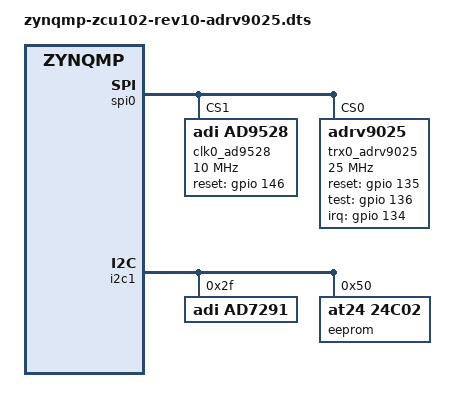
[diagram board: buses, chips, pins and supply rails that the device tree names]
// SPDX-License-Identifier: GPL-2.0
/*
 * Analog Devices ADRV9025
 * https://wiki.analog.com/resources/eval/user-guides/adrv9025
 * https://wiki.analog.com/resources/tools-software/linux-drivers/iio-transceiver/adrv9025
 *
 * hdl_project: <adrv9026/zcu102>
 * board_revision: <>
 *
 * Copyright (C) 2020-2023 Analog Devices Inc.
 */
#include "zynqmp-zcu102-rev1.0.dts"
#include <dt-bindings/interrupt-controller/irq.h>
#include <dt-bindings/iio/adc/adi,adrv9025.h>

#include <dt-bindings/iio/frequency/ad9528.h>
#include <dt-bindings/gpio/gpio.h>
#include <dt-bindings/jesd204/adxcvr.h>

&spi0 {
	status = "okay";

	clk0_ad9528: ad9528-1@1 {
		compatible = "adi,ad9528";
		reg = <1>;

		#address-cells = <1>;
		#size-cells = <0>;

		spi-max-frequency = <10000000>;
		//adi,spi-3wire-enable;

		clock-output-names = "ad9528-1_out0", "ad9528-1_out1", "ad9528-1_out2",
			"ad9528-1_out3", "ad9528-1_out4", "ad9528-1_out5", "ad9528-1_out6",
			"ad9528-1_out7", "ad9528-1_out8", "ad9528-1_out9", "ad9528-1_out10",
			"ad9528-1_out11", "ad9528-1_out12", "ad9528-1_out13";
		#clock-cells = <1>;

		jesd204-device;
		#jesd204-cells = <2>;
		jesd204-sysref-provider;

		adi,vcxo-freq = <122880000>;

		adi,refa-enable;
		adi,refa-diff-rcv-enable;
		adi,refa-r-div = <1>;

		/* PLL1 config */
		adi,pll1-feedback-div = <4>;
		adi,pll1-charge-pump-current-nA = <5000>;

		/* PLL2 config */
		adi,pll2-vco-div-m1 = <3>; /* use 5 for 184320000 output device clock */
		adi,pll2-n2-div = <10>; /* N / M1 */
		adi,pll2-r1-div = <1>;
		adi,pll2-charge-pump-current-nA = <805000>;

		/* SYSREF config */
		adi,sysref-src = <SYSREF_SRC_INTERNAL>;
		adi,sysref-pattern-mode = <SYSREF_PATTERN_NSHOT>;
		adi,sysref-k-div = <512>;
		adi,sysref-nshot-mode = <SYSREF_NSHOT_8_PULSES>;
		//adi,sysref-request-trigger-mode = <SYSREF_LEVEL_HIGH>;
		adi,jesd204-desired-sysref-frequency-hz = <3840000>;

		adi,rpole2 = <RPOLE2_900_OHM>;
		adi,rzero = <RZERO_1850_OHM>;
		adi,cpole1 = <CPOLE1_16_PF>;

		adi,status-mon-pin0-function-select = <1>; /* PLL1 & PLL2 Locked */
		adi,status-mon-pin1-function-select = <7>; /* REFA Correct */

		ad9528_0_c0: channel@0 {
			reg = <0>;
			adi,extended-name = "DEV_SYSREF";
			adi,driver-mode = <DRIVER_MODE_LVDS>;
			adi,divider-phase = <0>;
			adi,channel-divider = <5>;
			adi,signal-source = <SOURCE_SYSREF_VCO>;
			//adi,output-dis;
		};

		ad9528_0_c1: channel@1 {
			reg = <1>;
			adi,extended-name = "DEV_CLK";
			adi,driver-mode = <DRIVER_MODE_LVDS>;
			adi,divider-phase = <0>;
			adi,channel-divider = <5>;
			adi,signal-source = <SOURCE_VCO>;
			adi,output-dis;
		};

		ad9528_0_c3: channel@3 {
			reg = <3>;
			adi,extended-name = "CORE_CLK";
			adi,driver-mode = <DRIVER_MODE_LVDS>;
			adi,divider-phase = <0>;
			adi,channel-divider = <5>;
			adi,signal-source = <SOURCE_VCO>;
			adi,output-dis;
		};

		ad9528_0_c12: channel@12 {
			reg = <12>;
			adi,extended-name = "FMC_SYSREF";
			adi,driver-mode = <DRIVER_MODE_LVDS>;
			adi,divider-phase = <0>;
			adi,channel-divider = <5>;
			adi,signal-source = <SOURCE_SYSREF_VCO>;
			//adi,output-dis;
		};

		ad9528_0_c13: channel@13 {
			reg = <13>;
			adi,extended-name = "FMC_CLK";
			adi,driver-mode = <DRIVER_MODE_LVDS>;
			adi,divider-phase = <0>;
			adi,channel-divider = <5>;
			adi,signal-source = <SOURCE_VCO>;
			adi,output-dis;
		};
	};

	trx0_adrv9025: adrv9025-phy@0 {
		compatible = "adrv9025";
		reg = <0>;

		#address-cells = <1>;
		#size-cells = <0>;

		/* SPI Setup */
		spi-max-frequency = <25000000>;

		interrupt-parent = <&gpio>;
		interrupts = <134 IRQ_TYPE_EDGE_RISING>; /* adrv9025_gpint1 */

		/* Clocks */
		clocks = <&clk0_ad9528 1>;

		clock-names = "dev_clk";

		clock-output-names = "rx_sampl_clk", "tx_sampl_clk";
		#clock-cells = <1>;

		jesd204-device;
		#jesd204-cells = <2>;
		jesd204-top-device = <0>; /* This is the TOP device */
		jesd204-link-ids = <DEFRAMER0_LINK_TX FRAMER0_LINK_RX>;

		jesd204-inputs =
			<&axi_adrv9025_rx_jesd 0 FRAMER0_LINK_RX>,
			<&axi_adrv9025_core_tx 0 DEFRAMER0_LINK_TX>;

		adi,device-profile-name = "ActiveUseCase.profile";
		adi,init-profile-name = "ActiveUtilInit.profile";
		adi,arm-firmware-name = "ADRV9025_FW.bin;ADRV9025_DPDCORE_FW.bin";
		adi,stream-firmware-name = "stream_image_6E3E00EFB74FE7D465FA88A171B81B8F.bin";
		adi,rx-gaintable-names = "ADRV9025_RxGainTable.csv";
		adi,rx-gaintable-channel-masks = <0xFF>;
		adi,tx-attntable-names = "ADRV9025_TxAttenTable.csv";
		adi,tx-attntable-channel-masks = <0x0F>;

		/* General AGC Configuration */
		adi,rxagc-rx-channel-mask = <0x0F>;
		adi,rxagc-agc-peak-wait-time = <4>;
		adi,rxagc-agc-rx-max-gain-index = <255>;
		adi,rxagc-agc-rx-min-gain-index = <195>;
		adi,rxagc-agc-gain-update-counter = <921600>;
		adi,rxagc-agc-rx-attack-delay = <10>;
		adi,rxagc-agc-slow-loop-settling-delay = <16>;
		adi,rxagc-agc-low-thresh-prevent-gain-inc = <1>;
		adi,rxagc-agc-change-gain-if-thresh-high = <1>;
		adi,rxagc-agc-peak-thresh-gain-control-mode = <1>;
		adi,rxagc-agc-reset-on-rxon = <0>;
		adi,rxagc-agc-enable-sync-pulse-for-gain-counter = <0>;
		adi,rxagc-agc-enable-fast-recovery-loop = <0>;

		/* adi_adrv9025_AgcPeak_t agcPeak */
		adi,rxagc-peak-agc-under-range-low-interval = <836>;
		adi,rxagc-peak-agc-under-range-mid-interval = <2>;
		adi,rxagc-peak-agc-under-range-high-interval = <4>;
		adi,rxagc-peak-apd-high-thresh = <38>;
		adi,rxagc-peak-apd-low-thresh = <25>;
		adi,rxagc-peak-apd-upper-thresh-peak-exceeded-cnt = <10>;
		adi,rxagc-peak-apd-lower-thresh-peak-exceeded-cnt = <3>;
		adi,rxagc-peak-enable-hb2-overload = <1>;
		adi,rxagc-peak-hb2-overload-duration-cnt = <1>;
		adi,rxagc-peak-hb2-overload-thresh-cnt = <1>;
		adi,rxagc-peak-hb2-high-thresh = <11598>;/* -3dbFS*/
		adi,rxagc-peak-hb2-under-range-low-thresh = <8211>;
		adi,rxagc-peak-hb2-under-range-mid-thresh = <5813>;
		adi,rxagc-peak-hb2-under-range-high-thresh = <2913>;
		adi,rxagc-peak-hb2-upper-thresh-peak-exceeded-cnt = <10>;
		adi,rxagc-peak-hb2-under-range-high-thresh-exceeded-cnt = <3>;
		adi,rxagc-peak-hb2-under-range-mid-thresh-exceeded-cnt = <3>;
		adi,rxagc-peak-hb2-under-range-low-thresh-exceeded-cnt = <3>;
		adi,rxagc-peak-hb2-overload-power-mode = <0>;
		adi,rxagc-peak-hb2-thresh-config = <3>;

		adi,rxagc-peak-apd-gain-step-attack = <4>;
		adi,rxagc-peak-apd-gain-step-recovery = <2>;
		adi,rxagc-peak-hb2-gain-step-attack = <4>;
		adi,rxagc-peak-hb2-gain-step-high-recovery = <2>;
		adi,rxagc-peak-hb2-gain-step-mid-recovery = <4>;
		adi,rxagc-peak-hb2-gain-step-low-recovery = <8>;

		/* adi_adrv9025_AgcPower_t agcPower */
		adi,rxagc-power-power-enable-measurement = <0>;
		adi,rxagc-power-power-input-select = <0>;
		adi,rxagc-power-under-range-high-power-thresh = <9>;
		adi,rxagc-power-under-range-low-power-thresh = <2>;
		adi,rxagc-power-under-range-high-power-gain-step-recovery = <0>;
		adi,rxagc-power-under-range-low-power-gain-step-recovery = <0>;
		adi,rxagc-power-power-measurement-duration = <5>;
		adi,rxagc-power-rx-tdd-power-meas-duration = <5>;
		adi,rxagc-power-rx-tdd-power-meas-delay = <1>;
		adi,rxagc-power-over-range-high-power-thresh = <2>;
		adi,rxagc-power-over-range-low-power-thresh = <0>;
		adi,rxagc-power-power-log-shift = <1>; /* Force to 1 */
		adi,rxagc-power-over-range-high-power-gain-step-attack = <0>;
		adi,rxagc-power-over-range-low-power-gain-step-attack = <0>;
	};
};

&i2c1 {
	i2c-mux@75 {
		i2c@1 { /* HPC1 */
			#address-cells = <1>;
			#size-cells = <0>;
			reg = <1>;
			/* HPC0_IIC */
			ad7291@2f {
				compatible = "adi,ad7291";
				reg = <0x2f>;
			};

			eeprom@50 {
				compatible = "at24,24c02";
				reg = <0x50>;
			};
		};
	};
};


/ {
	fpga_axi: fpga-axi@0 {
		interrupt-parent = <&gic>;
		compatible = "simple-bus";
		#address-cells = <0x1>;
		#size-cells = <0x1>;
		ranges = <0 0 0 0xffffffff>;

		rx_dma: dma@9c400000 {
			compatible = "adi,axi-dmac-1.00.a";
			reg = <0x9c400000 0x10000>;
			#dma-cells = <1>;
			#clock-cells = <0>;
			interrupts = <0 110 IRQ_TYPE_LEVEL_HIGH>;
			clocks = <&zynqmp_clk 73>;
		};

		tx_dma: dma@9c420000  {
			compatible = "adi,axi-dmac-1.00.a";
			reg = <0x9c420000 0x10000>;
			#dma-cells = <1>;
			#clock-cells = <0>;
			interrupts = <0 109 IRQ_TYPE_LEVEL_HIGH>;
			clocks = <&zynqmp_clk 73>;
		};

		axi_adrv9025_core_rx: axi-adrv9025-rx-hpc@84a00000 {
			compatible = "adi,axi-adc-10.0.a";
			reg = <0x84a00000 0x8000>;
			dmas = <&rx_dma 0>;
			dma-names = "rx";
			spibus-connected = <&trx0_adrv9025>;
		};

		axi_adrv9025_core_tx: axi-adrv9025-tx-hpc@84a04000 {
			compatible = "adi,axi-adrv9025-tx-1.0";
			reg = <0x84a04000 0x4000>;
			dmas = <&tx_dma 0>;
			dma-names = "tx";
			clocks = <&trx0_adrv9025 1>;
			clock-names = "sampl_clk";
			//adi,axi-pl-fifo-enable;

			jesd204-device;
			#jesd204-cells = <2>;
			jesd204-inputs = <&axi_adrv9025_tx_jesd 0 DEFRAMER0_LINK_TX>;
		};

		axi_adrv9025_rx_jesd: axi-jesd204-rx@84aa0000 {
			compatible = "adi,axi-jesd204-rx-1.0";
			reg = <0x84aa0000 0x1000>;

			interrupts = <0 107 IRQ_TYPE_LEVEL_HIGH>;

			clocks = <&zynqmp_clk 71>, <&clk0_ad9528 3>, <&axi_adrv9025_adxcvr_rx 0>;
			clock-names = "s_axi_aclk", "device_clk", "lane_clk";

			#clock-cells = <0>;
			clock-output-names = "jesd_rx_lane_clk";

			adi,octets-per-frame = <4>;
			adi,frames-per-multiframe = <32>;

			jesd204-device;
			#jesd204-cells = <2>;
			jesd204-inputs = <&axi_adrv9025_adxcvr_rx 0 FRAMER0_LINK_RX>;
		};

		axi_adrv9025_tx_jesd: axi-jesd204-tx@84a90000 {
			compatible = "adi,axi-jesd204-tx-1.0";
			reg = <0x84a90000 0x1000>;

			interrupts = <0 106 IRQ_TYPE_LEVEL_HIGH>;

			clocks = <&zynqmp_clk 71>, <&clk0_ad9528 3>, <&axi_adrv9025_adxcvr_tx 0>;
			clock-names = "s_axi_aclk", "device_clk", "lane_clk";

			#clock-cells = <0>;
			clock-output-names = "jesd_tx_lane_clk";

			jesd204-device;
			#jesd204-cells = <2>;
			jesd204-inputs = <&axi_adrv9025_adxcvr_tx 0 DEFRAMER0_LINK_TX>;

		};

		axi_adrv9025_adxcvr_rx: axi-adxcvr-rx@84a60000 {
			#address-cells = <1>;
			#size-cells = <0>;
			compatible = "adi,axi-adxcvr-1.0";
			reg = <0x84a60000 0x1000>;

			clocks = <&clk0_ad9528 13>;
			clock-names = "conv";

			#clock-cells = <1>;
			clock-output-names = "rx_gt_clk", "rx_out_clk";

			adi,sys-clk-select = <XCVR_CPLL>;
			adi,out-clk-select = <XCVR_REFCLK>;
			adi,use-lpm-enable;
			adi,use-cpll-enable;

			jesd204-device;
			#jesd204-cells = <2>;
			jesd204-inputs =  <&clk0_ad9528 0 FRAMER0_LINK_RX>;

		};

		axi_adrv9025_adxcvr_tx: axi-adxcvr-tx@84a80000 {
			#address-cells = <1>;
			#size-cells = <0>;
			compatible = "adi,axi-adxcvr-1.0";
			reg = <0x84a80000 0x1000>;

			clocks = <&clk0_ad9528 13>;
			clock-names = "conv";

			#clock-cells = <1>;
			clock-output-names = "tx_gt_clk", "tx_out_clk";

			adi,sys-clk-select = <XCVR_QPLL>;
			adi,out-clk-select = <XCVR_REFCLK>;

			jesd204-device;
			#jesd204-cells = <2>;
			jesd204-inputs =  <&clk0_ad9528 0 DEFRAMER0_LINK_TX>;

		};

		axi_sysid_0: axi-sysid-0@85000000 {
			compatible = "adi,axi-sysid-1.00.a";
			reg = <0x85000000 0x10000>;
		};
	};
};



	// ad9528_reset_b,       // 68
	// ad9528_sysref_req,    // 67
	// adrv9025_tx1_enable,  // 66
	// adrv9025_tx2_enable,  // 65
	// adrv9025_tx3_enable,  // 64
	// adrv9025_tx4_enable,  // 63
	// adrv9025_rx1_enable,  // 62
	// adrv9025_rx2_enable,  // 61
	// adrv9025_rx3_enable,  // 60
	// adrv9025_rx4_enable,  // 59
	// adrv9025_test,        // 58
	// adrv9025_reset_b,     // 57
	// adrv9025_gpint1,      // 56
	// adrv9025_gpint2,      // 55
	// adrv9025_orx_ctrl_a,  // 54
	// adrv9025_orx_ctrl_b,  // 53
	// adrv9025_orx_ctrl_c,  // 52
	// adrv9025_orx_ctrl_d,  // 51
	// adrv9025_gpio_00,     // 50
	// adrv9025_gpio_01,     // 49
	// adrv9025_gpio_02,     // 48
	// adrv9025_gpio_03,     // 47
	// adrv9025_gpio_04,     // 46
	// adrv9025_gpio_05,     // 45
	// adrv9025_gpio_06,     // 44
	// adrv9025_gpio_07,     // 43
	// adrv9025_gpio_08,     // 42
	// adrv9025_gpio_09,     // 41
	// adrv9025_gpio_10,     // 40
	// adrv9025_gpio_11,     // 39
	// adrv9025_gpio_12,     // 38
	// adrv9025_gpio_13,     // 37
	// adrv9025_gpio_14,     // 36
	// adrv9025_gpio_15,     // 35
	// adrv9025_gpio_16,     // 34
	// adrv9025_gpio_17,     // 33
	// adrv9025_gpio_18}));  // 32 + 78

&trx0_adrv9025 {
	reset-gpios = <&gpio 135 0>;
	test-gpios = <&gpio 136 0>;
};

&clk0_ad9528 {
	reset-gpios = <&gpio 146 0>;
};

&axi_adrv9025_core_tx {
	plddrbypass-gpios = <&gpio 147 0>;
};
